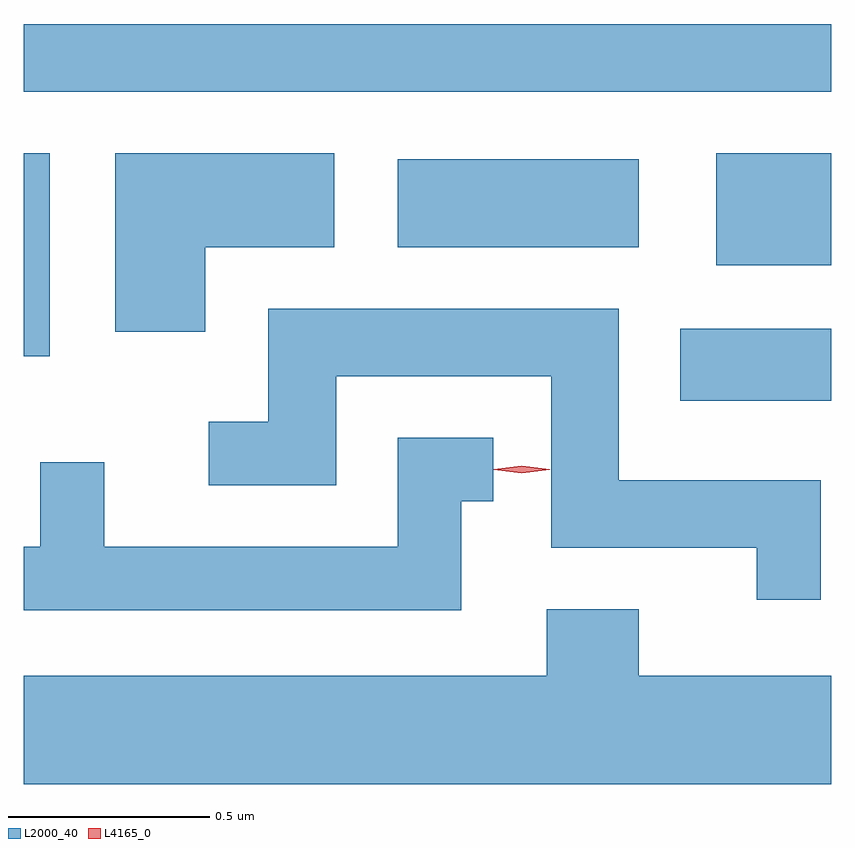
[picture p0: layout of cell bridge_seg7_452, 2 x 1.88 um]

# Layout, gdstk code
import gdstk
lib = gdstk.Library(unit=1e-6, precision=1e-09)
def R(c, l, rs):  # rectangles x0, y0, x1, y1
    for r in rs: c.add(gdstk.rectangle(r[:2], r[2:], *l))
def P(c, l, *ps):  # polygons
    for p in ps: c.add(gdstk.Polygon(p, *l))
L2000_40 = (2000, 40)
L4165_0 = (4165, 0)

bridge_seg7_452 = lib.new_cell('bridge_seg7_452')
R(bridge_seg7_452, L2000_40, [(1240.911,1697.506,1241.285,1697.684), (1239.285,1697.616,1239.349,1698.119), (1241.001,1697.841,1241.285,1698.119), (1240.211,1697.886,1240.809,1698.104), (1239.285,1698.271,1241.285,1698.439)])
P(bridge_seg7_452, L2000_40, [(1239.734,1697.886),(1240.054,1697.886),(1240.054,1698.119),(1239.511,1698.119),(1239.511,1697.676),(1239.734,1697.676)],
  [(1241.259,1697.309),(1240.759,1697.309),(1240.759,1697.734),(1239.891,1697.734),(1239.891,1697.454),(1239.743,1697.454),(1239.743,1697.296),(1240.059,1697.296),(1240.059,1697.566),(1240.591,1697.566),(1240.591,1697.141),(1241.101,1697.141),(1241.101,1697.013),(1241.259,1697.013)],
  [(1240.369,1697.256),(1240.448,1697.256),(1240.448,1697.414),(1240.211,1697.414),(1240.211,1697.144),(1239.484,1697.144),(1239.484,1697.353),(1239.326,1697.353),(1239.326,1697.144),(1239.285,1697.144),(1239.285,1696.986),(1240.369,1696.986)],
  [(1241.285,1696.824),(1240.809,1696.824),(1240.809,1696.989),(1240.581,1696.989),(1240.581,1696.824),(1239.285,1696.824),(1239.285,1696.556),(1241.285,1696.556)])
P(bridge_seg7_452, L4165_0, [(1240.518,1697.326),(1240.449,1697.334),(1240.449,1697.335),(1240.449,1697.336),(1240.518,1697.345),(1240.588,1697.336),(1240.588,1697.336),(1240.588,1697.335)])

lib.write_gds('bridge_seg7_452.gds')
